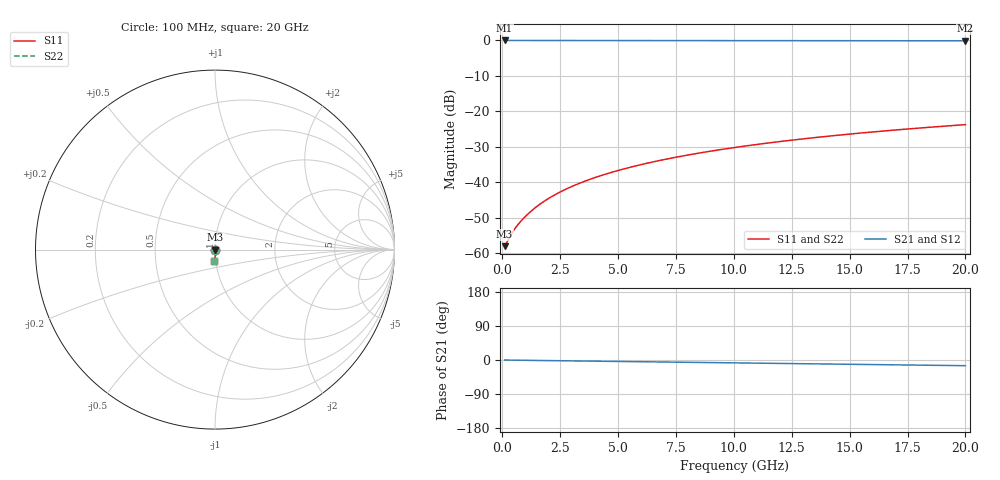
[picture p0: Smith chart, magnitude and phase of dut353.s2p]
! Touchstone file exported from HFSS 2026.1.0
!  File:  C:/ffzhzh/LocalFiles/Ansys_Project_Files/temp_train_BSMRDL_353_1783011436_53980.aedt
!  Generated:  12:58:51 AM Jul  3, 2026
!  Design:  BSMRDL
!  Project:  temp_train_BSMRDL_353_1783011436_53980
! Variables:
!  h_bsmrdl = 3.2um
!  h_ox = 20um
!  h_rdl = 5um
!  h_sub = 80um
!  h_tmrdl = 5um
!  h_tsv = 80um
!  h_via = 3um
!  l_bsmrdl = 247.43um
!  l_sub = 647.43um
!  l_tmrdl = 200um
!  m_sub = 200um
!  pitch = 31.66um
!  r_tsv = 6um
!  s_tmrdl = 10um
!  w_bsmrdl = 29.62um
!  w_sub = 500um
!  w_tmrdl = 12um
!  x_tsv_center1 = 206um
!  x_tsv_center2 = 483.05um
!  x_tsv_center3 = 695.05um
!  x_tsv_center4 = 972.1um
!  x_tsv_center5 = 1184.1um
!  x_tsv_center6 = 1461.15um
# GHz S MA R 50.000000
! Terminal data exported
! Port[1] = BSM_RDL1_1_T1
! Port[2] = BSM_RDL1_1_T2
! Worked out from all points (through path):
!   200 points, 100 MHz to 20 GHz, reference 50 ohm
!   highest |S21| = -0.01 dB at 100 MHz (marker M1); lowest = -0.1 dB at 20 GHz (marker M2)
!   group delay of S21, straight-line fit = 2.07 ps
!   lowest |S11| = -58.0 dB at 100 MHz (marker M3), VSWR 1.00, Z = 50.1 + j0.0047 ohm
!   |S11| at or under -10 dB: start of sweep to end of sweep
!   |S22| runs from -58.0 to -23.7 dB; largest |S21 - S12| = 3.1e-15
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0.1  0.00126 2.1  0.9987 -0.1  0.9987 -0.1  0.00126 2.1
! Gamma 0 0 0 0
! Port Impedance 50 0 50 0
0.4  0.001885 -9.4  0.9981 -0.4  0.9981 -0.4  0.001885 -9.4
0.5  0.002119 -15.7  0.998 -0.4  0.998 -0.4  0.002119 -15.7
0.7  0.00259 -27.1  0.9977 -0.6  0.9977 -0.6  0.00259 -27.1
1  0.003314 -40.1  0.9974 -0.8  0.9974 -0.8  0.003315 -40.1
1.2  0.003815 -46.4  0.9973 -1.0  0.9973 -1.0  0.003815 -46.4
1.4  0.004328 -51.4  0.9972 -1.1  0.9972 -1.1  0.004328 -51.4
1.8  0.005387 -58.6  0.9971 -1.4  0.9971 -1.4  0.005387 -58.6
2.3  0.006756 -64.6  0.9969 -1.8  0.9969 -1.8  0.006757 -64.6
2.9  0.008449 -69.2  0.9967 -2.3  0.9967 -2.3  0.00845 -69.2
3.5  0.01019 -72.4  0.9964 -2.7  0.9964 -2.7  0.01019 -72.4
4.2  0.01226 -75.0  0.9961 -3.3  0.9961 -3.3  0.01226 -75.0
5  0.01469 -77.3  0.9957 -3.9  0.9957 -3.9  0.01469 -77.3
5.9  0.01748 -79.2  0.9952 -4.6  0.9952 -4.6  0.01748 -79.2
6.8  0.02033 -80.8  0.9947 -5.2  0.9947 -5.2  0.02034 -80.8
8.4  0.02553 -83.2  0.9938 -6.4  0.9938 -6.4  0.02553 -83.2
10.1  0.03118 -85.4  0.9929 -7.7  0.9929 -7.7  0.03119 -85.4
11.7  0.03659 -87.3  0.9919 -8.9  0.9919 -8.9  0.03659 -87.3
13.4  0.04239 -89.2  0.991 -10.2  0.991 -10.2  0.0424 -89.2
15  0.04788 -90.9  0.9901 -11.3  0.9901 -11.3  0.04789 -90.9
16.7  0.05372 -92.6  0.9892 -12.6  0.9892 -12.6  0.05373 -92.6
20  0.06504 -95.9  0.9874 -15.0  0.9874 -15.0  0.06505 -95.8
